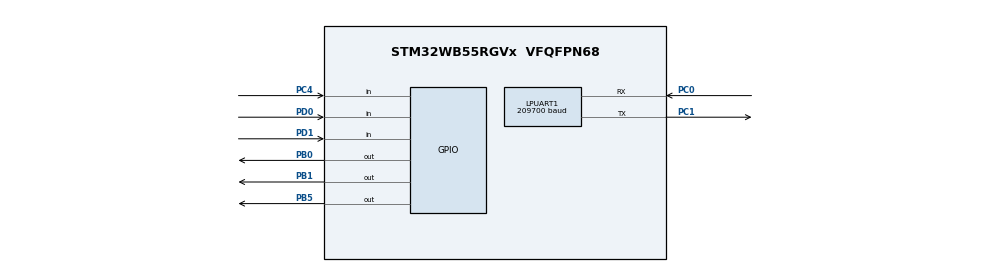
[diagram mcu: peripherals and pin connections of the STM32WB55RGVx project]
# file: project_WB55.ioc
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LPUART1.BaudRate=209700
Mcu.Family=STM32WB
Mcu.Name=STM32WB55RGVx
Mcu.Package=VFQFPN68
NUCLEO-WB55RG.BUTTON=1
NUCLEO-WB55RG.BUTTON2=1
NUCLEO-WB55RG.BUTTON3=1
NUCLEO-WB55RG.LD1=true
NUCLEO-WB55RG.LD2=true
NUCLEO-WB55RG.LD3=true
NUCLEO-WB55RG.VCP=true
NVIC.EXTI0_IRQn=true\:0\:0\:false\:false\:true\:true\:true\:true
NVIC.EXTI1_IRQn=true\:0\:0\:false\:false\:true\:true\:true\:true
NVIC.EXTI4_IRQn=true\:0\:0\:false\:false\:true\:true\:true\:true
NVIC.LPUART1_IRQn=true\:0\:0\:false\:false\:true\:true\:true\:true
NVIC.PriorityGroup=NVIC_PRIORITYGROUP_4
OSC_IN.GPIO_Label=RCC_OSC_IN
OSC_IN.Signal=RCC_OSC_IN
OSC_OUT.GPIO_Label=RCC_OSC_OUT
OSC_OUT.Signal=RCC_OSC_OUT
PA10.Signal=USART1_RX
PA11.GPIO_Label=USB_DM
PA11.Signal=USB_DM
PA12.GPIO_Label=USB_DP
PA12.Signal=USB_DP
PA13.GPIO_Label=JTMS
PA13.Signal=SYS_JTMS-SWDIO
PA14.GPIO_Label=JTCK
PA14.Signal=SYS_JTCK-SWCLK
PA9.Signal=USART1_TX
PB0.Signal=GPIO_Output
PB1.Signal=GPIO_Output
PB3.GPIO_Label=JTDO
PB3.Signal=SYS_JTDO-SWO
PB5.Signal=GPIO_Output
PB6.Signal=USART1_TX
PB7.Signal=USART1_RX
PC0.Mode=Asynchronous
PC0.Signal=LPUART1_RX
PC1.Mode=Asynchronous
PC1.Signal=LPUART1_TX
PC13.GPIO_Label=SYS_WKUP2
PC13.Signal=SYS_WKUP2
PC14-OSC32_IN.GPIO_Label=RCC_OSC32_IN
PC14-OSC32_IN.Signal=RCC_OSC32_IN
PC15-OSC32_OUT.GPIO_Label=RCC_OSC32_OUT
PC15-OSC32_OUT.Signal=RCC_OSC32_OUT
PC4.Signal=GPIO_Input
PD0.Signal=GPIO_Input
PD1.Signal=GPIO_Input
ProjectManager.HeapSize=0x200
ProjectManager.StackSize=0x400
ProjectManager.TargetToolchain=STM32CubeIDE
RCC.ADCFreq_Value=128000000
RCC.AHBFreq_Value=32000000
RCC.APB1Freq_Value=32000000
RCC.APB1TimFreq_Value=32000000
RCC.APB2Freq_Value=32000000
RCC.APB2TimFreq_Value=32000000
RCC.APB3Freq_Value=16000000
RCC.CortexFreq_Value=32000000
RCC.HCLKFreq_Value=32000000
RCC.HSE_VALUE=32000000
RCC.HSI48_VALUE=48000000
RCC.HSI_VALUE=16000000
RCC.LSE_VALUE=32768
RCC.MSIClockRange=RCC_MSIRANGE_10
RCC.SMPSCLockSelection=RCC_SMPSCLKSOURCE_HSI
RCC.SMPSCLockSelectionVirtual=RCC_SMPSCLKSOURCE_HSI
RCC.SMPSCLockSelectionVirtualVirtual=RCC_SMPSCLKSOURCE_HSI
RCC.SMPSDivider=1
RCC.SYSCLKFreq_VALUE=32000000
RCC.USBFreq_Value=128000000
RCC.VCOOutputFreq_Value=256000000
VP_MEMORYMAP_VS_MEMORYMAP.Mode=CurAppReg
VP_NUCLEO-WB55RG_VS_BSP_COMMON.Mode=COMMON
board=NUCLEO-WB55RG

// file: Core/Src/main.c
/* USER CODE BEGIN Header */
/**
  ******************************************************************************
  * @file           : main.c
  * @brief          : Main program body
  ******************************************************************************
  * @attention
  *
  * Copyright (c) 2026 STMicroelectronics.
  * All rights reserved.
  *
  * This software is licensed under terms that can be found in the LICENSE file
  * in the root directory of this software component.
  * If no LICENSE file comes with this software, it is provided AS-IS.
  *
  ******************************************************************************
  */
/* USER CODE END Header */
#include "main.h"

/* USER CODE BEGIN Includes */
#include <string.h>
#include "protocol_uart.h"
#include "save.h"
#include "nn.h"
#include "nn_ff.h"
#include "config.h"
#include "weights_flash.h"
/* USER CODE END Includes */

COM_InitTypeDef BspCOMInit;
UART_HandleTypeDef hlpuart1;

/* USER CODE BEGIN PV */
volatile uint8_t sw1_flag = 0;
volatile uint8_t sw2_flag = 0;
volatile uint8_t sw3_flag = 0;

static uint32_t infer_correct = 0;
static uint32_t infer_total = 0;

static uint32_t test_total = 0;
static uint32_t test_correct = 0;
/* USER CODE END PV */

void SystemClock_Config(void);
void PeriphCommonClock_Config(void);
static void MX_GPIO_Init(void);
static void MX_LPUART1_UART_Init(void);

int main(void)
{

  /* MCU Configuration--------------------------------------------------------*/

  /* Reset of all peripherals, Initializes the Flash interface and the Systick. */
  HAL_Init();

  /* Configure the system clock */
  SystemClock_Config();

  /* Configure the peripherals common clocks */
  PeriphCommonClock_Config();

  /* Initialize all configured peripherals */
  MX_GPIO_Init();
  MX_LPUART1_UART_Init();
  /* USER CODE BEGIN 2 */
  protocol_init(&hlpuart1);
  protocol_start_uart_rx();

  #if USE_BACKPROP
	  nn_init();
  #endif

  #if USE_FF
	  nn_ff_init();
  #endif

  #if NN_LOAD_OLD_WEIGHTS_AT_BOOT
	  (void)weights_flash_load();
  #endif

  #if (NN_EPOCHS == 0)
      protocol_send_test_req();
  #else
      protocol_send_req();
  #endif
  /* USER CODE END 2 */

  /* Initialize leds */
  BSP_LED_Init(LED_BLUE);
  BSP_LED_Init(LED_GREEN);
  BSP_LED_Init(LED_RED);

  /* Initialize USER push-button, will be used to trigger an interrupt each time it's pressed.*/
  BSP_PB_Init(BUTTON_SW1, BUTTON_MODE_EXTI);
  BSP_PB_Init(BUTTON_SW2, BUTTON_MODE_EXTI);
  BSP_PB_Init(BUTTON_SW3, BUTTON_MODE_EXTI);

  /* Initialize COM1 port (115200, 8 bits (7-bit data + 1 stop bit), no parity */
  BspCOMInit.BaudRate   = 115200;
  BspCOMInit.WordLength = COM_WORDLENGTH_8B;
  BspCOMInit.StopBits   = COM_STOPBITS_1;
  BspCOMInit.Parity     = COM_PARITY_NONE;
  BspCOMInit.HwFlowCtl  = COM_HWCONTROL_NONE;
  if (BSP_COM_Init(COM1, &BspCOMInit) != BSP_ERROR_NONE)
  {
    Error_Handler();
  }

  /* Infinite loop */
  while (1)
  {

    /* USER CODE BEGIN 3 */
	  protocol_while();

	  if (protocol_is_train_finished())
	  {
		  protocol_clear_train_finished();
	  }

	  if (global_sample_ready)
	  {
		  float x[NN_IN];
		  int8_t y;

		  // Stop the Interrupt to copy the data safely
		  __disable_irq();
		  memcpy(x, global_x, sizeof(x));
		  y = global_y;
		  global_sample_ready = 0;
		  __enable_irq();

		  float probability = 0.0f;
		  float loss = 0.0f;

		  // Train
		  if (!protocol_is_inference_mode() && !protocol_is_test_mode())
		  {
			  #if USE_BACKPROP
				  loss = nn_train_one(x, y);
				  probability = nn_predict(x);
			  #endif

			  #if USE_FF
				  loss = nn_ff_train_one(x, y);
				  probability = nn_ff_predict(x);
			  #endif

			  uint8_t pred = (probability >= 0.5f) ? 1 : 0;
			  uint8_t correct = (pred == y) ? 1 : 0;

			  protocol_send_results(loss, probability, correct);
		  }

		  // Validation
		  else if (protocol_is_inference_mode())
		  {
			  #if USE_BACKPROP
				  probability = nn_predict(x);
			  #endif

			  #if USE_FF
				  probability = nn_ff_predict(x);
			  #endif

			  uint8_t pred = (probability >= 0.5f) ? 1 : 0;
			  uint8_t correct = (pred == y) ? 1 : 0;

			  infer_total++;
			  infer_correct += correct;
		  }

		  // Test
		  else if (protocol_is_test_mode())
		  {
			  #if USE_BACKPROP
				  probability = nn_predict(x);
			  #endif

			  #if USE_FF
				  probability = nn_ff_predict(x);
			  #endif

			  uint8_t pred = (probability >= 0.5f) ? 1 : 0;

			  uint8_t correct = (pred == y) ? 1 : 0;

			  test_total++;
			  test_correct += correct;

			  protocol_send_test_prediction(probability, pred);

		  }

		  protocol_resume_requesting();
	  }

	  // Validation Finished
	  if (protocol_is_infer_finished())
	  {
		  float acc = 0.0f;
		  if (infer_total > 0) {
			  acc = (float)infer_correct / (float)infer_total;
		  }

		  #if NN_SAVE_NEW_WEIGHTS_AFTER_TRAIN
			  float old_acc = weights_flash_get_infer_acc();

			  if (acc > old_acc) {
				  weights_flash_set_infer_acc(acc);
				  (void)weights_flash_save();
			  }
		  #endif

		  protocol_send_inference_acc(acc);
		  protocol_clear_infer_finished();

		  infer_total = 0;
		  infer_correct = 0;

		  protocol_after_infer_processed();
	  }

	  // Test Finished
	  if (protocol_is_test_finished())
	  {
		  float acc = 0.0f;
		  if (test_total > 0) {
			  acc = (float)test_correct / (float)test_total;
		  }

		  protocol_send_inference_acc(acc);

		  test_total = 0;
		  test_correct = 0;

		  protocol_clear_test_finished();
		  protocol_after_test_processed();
	  }

//	  HAL_GPIO_TogglePin(LED3_GPIO_PORT, LED3_PIN);

	  if(sw1_flag){
	    sw1_flag = 0;
	    protocol_send_end();
	    protocol_set_idle(1);
	  }

	  if(sw2_flag){
		  sw2_flag = 0;
		  protocol_set_idle(1);
	  }
	  if(sw3_flag){
		  sw3_flag = 0;
		  protocol_set_idle(0);
	  }
	}
  /* USER CODE END 3 */
}

void SystemClock_Config(void)
{
  RCC_OscInitTypeDef RCC_OscInitStruct = {0};
  RCC_ClkInitTypeDef RCC_ClkInitStruct = {0};

  /** Configure the main internal regulator output voltage
  */
  __HAL_PWR_VOLTAGESCALING_CONFIG(PWR_REGULATOR_VOLTAGE_SCALE1);

  /** Initializes the RCC Oscillators according to the specified parameters
  * in the RCC_OscInitTypeDef structure.
  */
  RCC_OscInitStruct.OscillatorType = RCC_OSCILLATORTYPE_HSI|RCC_OSCILLATORTYPE_MSI;
  RCC_OscInitStruct.HSIState = RCC_HSI_ON;
  RCC_OscInitStruct.MSIState = RCC_MSI_ON;
  RCC_OscInitStruct.HSICalibrationValue = RCC_HSICALIBRATION_DEFAULT;
  RCC_OscInitStruct.MSICalibrationValue = RCC_MSICALIBRATION_DEFAULT;
  RCC_OscInitStruct.MSIClockRange = RCC_MSIRANGE_10;
  RCC_OscInitStruct.PLL.PLLState = RCC_PLL_NONE;
  if (HAL_RCC_OscConfig(&RCC_OscInitStruct) != HAL_OK)
  {
    Error_Handler();
  }

  /** Configure the SYSCLKSource, HCLK, PCLK1 and PCLK2 clocks dividers
  */
  RCC_ClkInitStruct.ClockType = RCC_CLOCKTYPE_HCLK4|RCC_CLOCKTYPE_HCLK2
                              |RCC_CLOCKTYPE_HCLK|RCC_CLOCKTYPE_SYSCLK
                              |RCC_CLOCKTYPE_PCLK1|RCC_CLOCKTYPE_PCLK2;
  RCC_ClkInitStruct.SYSCLKSource = RCC_SYSCLKSOURCE_MSI;
  RCC_ClkInitStruct.AHBCLKDivider = RCC_SYSCLK_DIV1;
  RCC_ClkInitStruct.APB1CLKDivider = RCC_HCLK_DIV1;
  RCC_ClkInitStruct.APB2CLKDivider = RCC_HCLK_DIV1;
  RCC_ClkInitStruct.AHBCLK2Divider = RCC_SYSCLK_DIV1;
  RCC_ClkInitStruct.AHBCLK4Divider = RCC_SYSCLK_DIV1;

  if (HAL_RCC_ClockConfig(&RCC_ClkInitStruct, FLASH_LATENCY_1) != HAL_OK)
  {
    Error_Handler();
  }
}

void PeriphCommonClock_Config(void)
{
  RCC_PeriphCLKInitTypeDef PeriphClkInitStruct = {0};

  /** Initializes the peripherals clock
  */
  PeriphClkInitStruct.PeriphClockSelection = RCC_PERIPHCLK_SMPS;
  PeriphClkInitStruct.SmpsClockSelection = RCC_SMPSCLKSOURCE_HSI;
  PeriphClkInitStruct.SmpsDivSelection = RCC_SMPSCLKDIV_RANGE0;

  if (HAL_RCCEx_PeriphCLKConfig(&PeriphClkInitStruct) != HAL_OK)
  {
    Error_Handler();
  }
}

static void MX_LPUART1_UART_Init(void)
{

  hlpuart1.Instance = LPUART1;
  hlpuart1.Init.BaudRate = 209700;
  hlpuart1.Init.WordLength = UART_WORDLENGTH_8B;
  hlpuart1.Init.StopBits = UART_STOPBITS_1;
  hlpuart1.Init.Parity = UART_PARITY_NONE;
  hlpuart1.Init.Mode = UART_MODE_TX_RX;
  hlpuart1.Init.HwFlowCtl = UART_HWCONTROL_NONE;
  hlpuart1.Init.OneBitSampling = UART_ONE_BIT_SAMPLE_DISABLE;
  hlpuart1.Init.ClockPrescaler = UART_PRESCALER_DIV1;
  hlpuart1.AdvancedInit.AdvFeatureInit = UART_ADVFEATURE_NO_INIT;
  hlpuart1.FifoMode = UART_FIFOMODE_DISABLE;
  if (HAL_UART_Init(&hlpuart1) != HAL_OK)
  {
    Error_Handler();
  }
  if (HAL_UARTEx_SetTxFifoThreshold(&hlpuart1, UART_TXFIFO_THRESHOLD_1_8) != HAL_OK)
  {
    Error_Handler();
  }
  if (HAL_UARTEx_SetRxFifoThreshold(&hlpuart1, UART_RXFIFO_THRESHOLD_1_8) != HAL_OK)
  {
    Error_Handler();
  }
  if (HAL_UARTEx_DisableFifoMode(&hlpuart1) != HAL_OK)
  {
    Error_Handler();
  }

}

static void MX_GPIO_Init(void)
{
  GPIO_InitTypeDef GPIO_InitStruct = {0};

  /* GPIO Ports Clock Enable */
  __HAL_RCC_GPIOC_CLK_ENABLE();
  __HAL_RCC_GPIOA_CLK_ENABLE();
  __HAL_RCC_GPIOB_CLK_ENABLE();

  /*Configure GPIO pins : PA9 PA10 */
  GPIO_InitStruct.Pin = GPIO_PIN_9|GPIO_PIN_10;
  GPIO_InitStruct.Mode = GPIO_MODE_AF_PP;
  GPIO_InitStruct.Pull = GPIO_NOPULL;
  GPIO_InitStruct.Speed = GPIO_SPEED_FREQ_LOW;
  GPIO_InitStruct.Alternate = GPIO_AF7_USART1;
  HAL_GPIO_Init(GPIOA, &GPIO_InitStruct);

  /*Configure GPIO pins : USB_DM_Pin USB_DP_Pin */
  GPIO_InitStruct.Pin = USB_DM_Pin|USB_DP_Pin;
  GPIO_InitStruct.Mode = GPIO_MODE_AF_PP;
  GPIO_InitStruct.Pull = GPIO_NOPULL;
  GPIO_InitStruct.Speed = GPIO_SPEED_FREQ_LOW;
  GPIO_InitStruct.Alternate = GPIO_AF10_USB;
  HAL_GPIO_Init(GPIOA, &GPIO_InitStruct);

}

/* USER CODE BEGIN 4 */
void HAL_GPIO_EXTI_Callback(uint16_t GPIO_Pin)
{
	if (GPIO_Pin == BUTTON_SW1_PIN)      sw1_flag = 1;
	else if (GPIO_Pin == BUTTON_SW2_PIN) sw2_flag = 1;
	else if (GPIO_Pin == BUTTON_SW3_PIN) sw3_flag = 1;
}
/* USER CODE END 4 */

void Error_Handler(void)
{
  __disable_irq();
  while (1)
  {
  }
}
